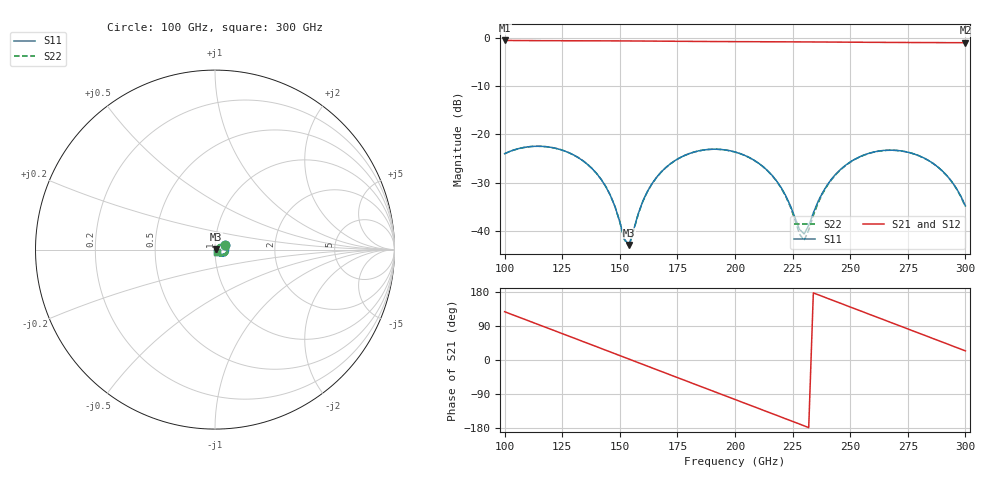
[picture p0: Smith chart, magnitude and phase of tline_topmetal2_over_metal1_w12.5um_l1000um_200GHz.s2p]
#  GHZ S DB R 50
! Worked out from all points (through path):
!   101 points, 100 GHz to 300 GHz, reference 50 ohm
!   highest |S21| = -0.58 dB at 100 GHz (marker M1); lowest = -1.0 dB at 300 GHz (marker M2)
!   group delay of S21, straight-line fit = 6.44 ps
!   lowest |S11| = -42.8 dB at 154 GHz (marker M3), VSWR 1.01, Z = 50.7 + j0.103 ohm
!   |S11| at or under -10 dB: start of sweep to end of sweep
!   |S22| runs from -43.1 to -22.4 dB; largest |S21 - S12| = 1.1e-14
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100  -23.97 24.8  -0.58 127.4  -0.58 127.4  -23.98 25.0
116  -22.45 -7.8  -0.62 90.5  -0.62 90.5  -22.46 -7.7
124  -23.09 -24.1  -0.63 72.0  -0.63 72.0  -23.09 -24.1
134  -25.43 -43.7  -0.65 48.8  -0.65 48.8  -25.43 -43.8
144  -30.84 -58.9  -0.66 25.6  -0.66 25.6  -30.82 -59.3
148  -35.02 -58.5  -0.67 16.3  -0.67 16.3  -35.01 -59.2
152  -41.64 -32.4  -0.67 7.0  -0.67 7.0  -41.75 -33.8
154  -42.83 8.1  -0.68 2.4  -0.68 2.4  -43.08 7.5
160  -33.77 51.8  -0.70 -11.6  -0.70 -11.6  -33.84 52.1
168  -27.74 44.6  -0.72 -30.2  -0.72 -30.2  -27.76 44.6
184  -23.42 14.4  -0.78 -67.2  -0.78 -67.2  -23.43 14.1
200  -23.62 -17.7  -0.82 -104.2  -0.82 -104.2  -23.62 -18.4
218  -29.57 -47.7  -0.85 -145.8  -0.85 -145.8  -29.62 -49.8
230  -40.55 6.2  -0.88 -173.7  -0.88 -173.7  -41.90 6.2
234  -36.22 44.2  -0.89 177.0  -0.89 177.0  -36.74 48.1
240  -30.45 50.2  -0.90 163.1  -0.90 163.1  -30.60 52.6
248  -26.35 39.9  -0.93 144.5  -0.93 144.5  -26.42 41.3
258  -23.91 21.4  -0.96 121.4  -0.96 121.4  -23.94 22.2
268  -23.24 1.5  -0.98 98.2  -0.98 98.2  -23.26 1.9
278  -24.07 -18.4  -1.00 75.1  -1.00 75.1  -24.08 -18.3
288  -26.70 -36.5  -1.02 51.9  -1.02 51.9  -26.71 -37.1
300  -34.74 -42.9  -1.05 24.1  -1.05 24.1  -34.95 -46.6
